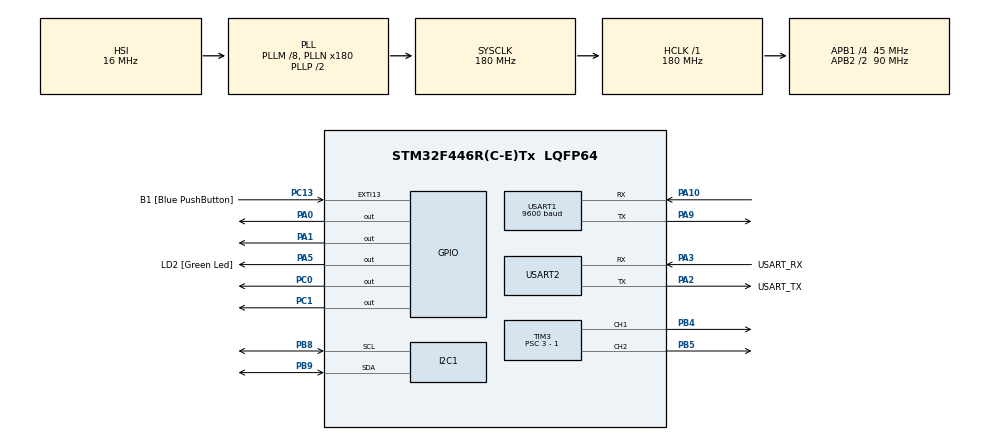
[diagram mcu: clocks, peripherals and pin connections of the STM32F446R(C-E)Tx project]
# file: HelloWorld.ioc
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Mcu.Family=STM32F4
Mcu.Name=STM32F446R(C-E)Tx
Mcu.Package=LQFP64
NVIC.PriorityGroup=NVIC_PRIORITYGROUP_0
NVIC.TIM3_IRQn=true\:0\:0\:false\:false\:true\:true\:true\:true
NVIC.USART1_IRQn=true\:0\:0\:false\:false\:true\:true\:true\:true
PA0-WKUP.Signal=GPIO_Output
PA1.Signal=GPIO_Output
PA10.Mode=Asynchronous
PA10.Signal=USART1_RX
PA13.GPIO_Label=TMS
PA13.Mode=Serial_Wire
PA13.Signal=SYS_JTMS-SWDIO
PA14.GPIO_Label=TCK
PA14.Mode=Serial_Wire
PA14.Signal=SYS_JTCK-SWCLK
PA2.GPIO_Label=USART_TX
PA2.Mode=Asynchronous
PA2.Signal=USART2_TX
PA3.GPIO_Label=USART_RX
PA3.Mode=Asynchronous
PA3.Signal=USART2_RX
PA5.GPIO_Label=LD2 [Green Led]
PA5.Signal=GPIO_Output
PA9.Mode=Asynchronous
PA9.Signal=USART1_TX
PB3.GPIO_Label=SWO
PB3.Signal=SYS_JTDO-SWO
PB4.Signal=S_TIM3_CH1
PB5.Signal=S_TIM3_CH2
PB8.Mode=I2C
PB8.Signal=I2C1_SCL
PB9.Mode=I2C
PB9.Signal=I2C1_SDA
PC0.Signal=GPIO_Output
PC1.Signal=GPIO_Output
PC13.GPIO_Label=B1 [Blue PushButton]
PC13.GPIO_ModeDefaultEXTI=GPIO_MODE_IT_FALLING
PC13.Signal=GPXTI13
PC14-OSC32_IN.Mode=LSE-External-Oscillator
PC14-OSC32_IN.Signal=RCC_OSC32_IN
PC15-OSC32_OUT.Mode=LSE-External-Oscillator
PC15-OSC32_OUT.Signal=RCC_OSC32_OUT
PH0-OSC_IN.Mode=HSE-External-Oscillator
PH0-OSC_IN.Signal=RCC_OSC_IN
PH1-OSC_OUT.Mode=HSE-External-Oscillator
PH1-OSC_OUT.Signal=RCC_OSC_OUT
ProjectManager.HeapSize=0x200
ProjectManager.StackSize=0x400
ProjectManager.TargetToolchain=CMake
RCC.48MHZClocksFreq_Value=84000000
RCC.AHBFreq_Value=180000000
RCC.APB1CLKDivider=RCC_HCLK_DIV4
RCC.APB1Freq_Value=45000000
RCC.APB1TimFreq_Value=90000000
RCC.APB2CLKDivider=RCC_HCLK_DIV2
RCC.APB2Freq_Value=90000000
RCC.APB2TimFreq_Value=180000000
RCC.CortexFreq_Value=180000000
RCC.FLatency-AdvancedSettings=FLASH_LATENCY_5
RCC.HCLKFreq_Value=180000000
RCC.HSE_VALUE=8000000
RCC.HSI_VALUE=16000000
RCC.PLLM=8
RCC.PLLN=180
RCC.SYSCLKFreq_VALUE=180000000
RCC.SYSCLKSource=RCC_SYSCLKSOURCE_PLLCLK
RCC.USBFreq_Value=180000000
RCC.VCOOutputFreq_Value=360000000
SH.S_TIM3_CH1.0=TIM3_CH1,PWM Generation1 CH1
SH.S_TIM3_CH2.0=TIM3_CH2,PWM Generation2 CH2
TIM3.Channel-PWM\ Generation1\ CH1=TIM_CHANNEL_1
TIM3.Channel-PWM\ Generation2\ CH2=TIM_CHANNEL_2
TIM3.Period=2000 - 1
TIM3.Prescaler=3 - 1
USART1.BaudRate=9600
USART1.Mode=MODE_TX_RX
USART1.VirtualMode=VM_ASYNC
USART2.VirtualMode=VM_ASYNC
VP_TIM3_VS_ClockSourceINT.Mode=Internal
board=NUCLEO-F446RE

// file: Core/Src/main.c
/* USER CODE BEGIN Header */
/* USER CODE END Header */
#include "main.h"

/* USER CODE BEGIN Includes */
#include "stdio.h"
#include "stdlib.h"
/* USER CODE END Includes */

I2C_HandleTypeDef hi2c1;

TIM_HandleTypeDef htim3;

UART_HandleTypeDef huart1;
UART_HandleTypeDef huart2;

void SystemClock_Config(void);
static void MX_GPIO_Init(void);
static void MX_USART2_UART_Init(void);
static void MX_I2C1_Init(void);
static void MX_USART1_UART_Init(void);
static void MX_TIM3_Init(void);

/* USER CODE BEGIN 0 */

#define BUFFER_LEN 32
uint8_t rx_buff[BUFFER_LEN];
// uint8_t tx_buff[]; //ABCDEFGHIJ in ASCII code

void HAL_UARTEx_RxEventCallback(UART_HandleTypeDef *huart, uint16_t size)
{
  if (huart->Instance==huart1.Instance)
  {
    HAL_UARTEx_ReceiveToIdle_IT(huart, rx_buff, BUFFER_LEN);
  }
}

void setLeftMotorState(int on, int clockwise, int speed) {
  if (on == 0) {
    HAL_GPIO_WritePin(GPIOA, GPIO_PIN_0, 0);
    HAL_GPIO_WritePin(GPIOA, GPIO_PIN_1, 0);
    return;
  }

  int ccr = 200 * speed;  // Speed: 0 - 10
  __HAL_TIM_SET_COMPARE(&htim3, TIM_CHANNEL_1, ccr);
  __HAL_TIM_SET_COMPARE(&htim3, TIM_CHANNEL_2, ccr);

  if (clockwise == 0) {
    HAL_GPIO_WritePin(GPIOA, GPIO_PIN_0, 1);
    HAL_GPIO_WritePin(GPIOA, GPIO_PIN_1, 0);
  }
  else {
    HAL_GPIO_WritePin(GPIOA, GPIO_PIN_0, 0);
    HAL_GPIO_WritePin(GPIOA, GPIO_PIN_1, 1);
  }
}

void setRightMotorState(int on, int clockwise, int speed) {
  if (on == 0) {
    HAL_GPIO_WritePin(GPIOC, GPIO_PIN_0, 0);
    HAL_GPIO_WritePin(GPIOC, GPIO_PIN_1, 0);
    return;
  }

  int ccr = 200 * speed;  // Speed: 0 - 10
  __HAL_TIM_SET_COMPARE(&htim3, TIM_CHANNEL_1, ccr);
  __HAL_TIM_SET_COMPARE(&htim3, TIM_CHANNEL_2, ccr);

  if (clockwise == 0) {
    HAL_GPIO_WritePin(GPIOC, GPIO_PIN_0, 1);
    HAL_GPIO_WritePin(GPIOC, GPIO_PIN_1, 0);
  }
  else {
    HAL_GPIO_WritePin(GPIOC, GPIO_PIN_0, 0);
    HAL_GPIO_WritePin(GPIOC, GPIO_PIN_1, 1);
  }
}

/* USER CODE END 0 */

int main(void)
{

  /* MCU Configuration--------------------------------------------------------*/

  /* Reset of all peripherals, Initializes the Flash interface and the Systick. */
  HAL_Init();

  /* Configure the system clock */
  SystemClock_Config();

  /* Initialize all configured peripherals */
  MX_GPIO_Init();
  MX_USART2_UART_Init();
  MX_I2C1_Init();
  MX_USART1_UART_Init();
  MX_TIM3_Init();
  /* USER CODE BEGIN 2 */
  HAL_TIM_PWM_Start(&htim3, TIM_CHANNEL_1);
  HAL_TIM_PWM_Start(&htim3, TIM_CHANNEL_2);
  // uint16_t AD_RES = 0;
  HAL_UARTEx_ReceiveToIdle_IT(&huart1, rx_buff, BUFFER_LEN);
  int receivedSpeed = 0;
  /* USER CODE END 2 */

  /* Infinite loop */
  /* USER CODE BEGIN WHILE */
  while (1)
  {
    HAL_UART_Transmit_IT(&huart1, rx_buff, sizeof(rx_buff));
    HAL_Delay(1000);

    // receivedSpeed = getSpeedFromUartBuff(rx_buff);
    receivedSpeed =  rx_buff[1] - '0';  // Convert number char to int

    if (receivedSpeed < 0 && receivedSpeed > 10) {
      receivedSpeed = 0;
    }

    switch (rx_buff[0])
    {
      case 'u':
        setLeftMotorState(1, 0, receivedSpeed);
        setRightMotorState(1, 0, receivedSpeed);
        break;
      case 'd':
        setLeftMotorState(1, 1, receivedSpeed);
        setRightMotorState(1, 1, receivedSpeed);
        break;
      case 'l':
        setLeftMotorState(1, 1, receivedSpeed);
        setRightMotorState(1, 0, receivedSpeed);
        break;
      case 'r':
        setLeftMotorState(1, 0, receivedSpeed);
        setRightMotorState(1, 1, receivedSpeed);
        break;
      default:
        // Turn Off
        setLeftMotorState(0, 0, receivedSpeed);
        setRightMotorState(0, 0, receivedSpeed);
    }

    // // Motor Bridge
    // HAL_GPIO_WritePin(GPIOA, GPIO_PIN_0, 1);
    // HAL_GPIO_WritePin(GPIOA, GPIO_PIN_1, 0);

    // HAL_Delay(1000);

    // HAL_GPIO_WritePin(GPIOA, GPIO_PIN_0, 0);
    // HAL_GPIO_WritePin(GPIOA, GPIO_PIN_1, 1);

    // HAL_Delay(1000);

    // // Potentiometer ADC
    // HAL_ADC_Start(&hadc1);

    // HAL_ADC_PollForConversion(&hadc1, 1);

    // AD_RES = HAL_ADC_GetValue(&hadc1);
    // TIM2->CCR2 = (AD_RES << 4);

    // // Turn on LED if button pressed
    // GPIO_PinState userButtonStatus = HAL_GPIO_ReadPin(GPIOC, GPIO_PIN_13);

    // if (userButtonStatus == GPIO_PIN_RESET)
    // {
    //   printf("Button pressed");
    //   HAL_GPIO_WritePin(GPIOA, GPIO_PIN_5, 1);
    //   HAL_GPIO_WritePin(GPIOA, GPIO_PIN_6, 1);
    // }
    // else
    // {
    //   HAL_GPIO_WritePin(GPIOA, GPIO_PIN_5, 0);
    //   HAL_GPIO_WritePin(GPIOA, GPIO_PIN_6, 0);
    // }

    // // PWM Pulse
    // int x;
    // for (x=0; x<1000; x++)
    // {
    //   __HAL_TIM_SET_COMPARE(&htim2, TIM_CHANNEL_2, x);
    //   HAL_Delay(100);
    // }
    // for (x=1000; x>0; x--)
    // {
    //   __HAL_TIM_SET_COMPARE(&htim2, TIM_CHANNEL_2, x);
    //   HAL_Delay(100);
    // }
    // printf("Hello World");

    /* USER CODE END WHILE */

  }
}

void SystemClock_Config(void)
{
  RCC_OscInitTypeDef RCC_OscInitStruct = {0};
  RCC_ClkInitTypeDef RCC_ClkInitStruct = {0};

  /** Configure the main internal regulator output voltage
  */
  __HAL_RCC_PWR_CLK_ENABLE();
  __HAL_PWR_VOLTAGESCALING_CONFIG(PWR_REGULATOR_VOLTAGE_SCALE1);

  /** Initializes the RCC Oscillators according to the specified parameters
  * in the RCC_OscInitTypeDef structure.
  */
  RCC_OscInitStruct.OscillatorType = RCC_OSCILLATORTYPE_HSI;
  RCC_OscInitStruct.HSIState = RCC_HSI_ON;
  RCC_OscInitStruct.HSICalibrationValue = RCC_HSICALIBRATION_DEFAULT;
  RCC_OscInitStruct.PLL.PLLState = RCC_PLL_ON;
  RCC_OscInitStruct.PLL.PLLSource = RCC_PLLSOURCE_HSI;
  RCC_OscInitStruct.PLL.PLLM = 8;
  RCC_OscInitStruct.PLL.PLLN = 180;
  RCC_OscInitStruct.PLL.PLLP = RCC_PLLP_DIV2;
  RCC_OscInitStruct.PLL.PLLQ = 2;
  RCC_OscInitStruct.PLL.PLLR = 2;
  if (HAL_RCC_OscConfig(&RCC_OscInitStruct) != HAL_OK)
  {
    Error_Handler();
  }

  /** Activate the Over-Drive mode
  */
  if (HAL_PWREx_EnableOverDrive() != HAL_OK)
  {
    Error_Handler();
  }

  /** Initializes the CPU, AHB and APB buses clocks
  */
  RCC_ClkInitStruct.ClockType = RCC_CLOCKTYPE_HCLK|RCC_CLOCKTYPE_SYSCLK
                              |RCC_CLOCKTYPE_PCLK1|RCC_CLOCKTYPE_PCLK2;
  RCC_ClkInitStruct.SYSCLKSource = RCC_SYSCLKSOURCE_PLLCLK;
  RCC_ClkInitStruct.AHBCLKDivider = RCC_SYSCLK_DIV1;
  RCC_ClkInitStruct.APB1CLKDivider = RCC_HCLK_DIV4;
  RCC_ClkInitStruct.APB2CLKDivider = RCC_HCLK_DIV2;

  if (HAL_RCC_ClockConfig(&RCC_ClkInitStruct, FLASH_LATENCY_5) != HAL_OK)
  {
    Error_Handler();
  }
}

static void MX_I2C1_Init(void)
{

  hi2c1.Instance = I2C1;
  hi2c1.Init.ClockSpeed = 100000;
  hi2c1.Init.DutyCycle = I2C_DUTYCYCLE_2;
  hi2c1.Init.OwnAddress1 = 0;
  hi2c1.Init.AddressingMode = I2C_ADDRESSINGMODE_7BIT;
  hi2c1.Init.DualAddressMode = I2C_DUALADDRESS_DISABLE;
  hi2c1.Init.OwnAddress2 = 0;
  hi2c1.Init.GeneralCallMode = I2C_GENERALCALL_DISABLE;
  hi2c1.Init.NoStretchMode = I2C_NOSTRETCH_DISABLE;
  if (HAL_I2C_Init(&hi2c1) != HAL_OK)
  {
    Error_Handler();
  }

}

static void MX_TIM3_Init(void)
{

  TIM_ClockConfigTypeDef sClockSourceConfig = {0};
  TIM_MasterConfigTypeDef sMasterConfig = {0};
  TIM_OC_InitTypeDef sConfigOC = {0};

  htim3.Instance = TIM3;
  htim3.Init.Prescaler = 3 - 1;
  htim3.Init.CounterMode = TIM_COUNTERMODE_UP;
  htim3.Init.Period = 2000 - 1;
  htim3.Init.ClockDivision = TIM_CLOCKDIVISION_DIV1;
  htim3.Init.AutoReloadPreload = TIM_AUTORELOAD_PRELOAD_DISABLE;
  if (HAL_TIM_Base_Init(&htim3) != HAL_OK)
  {
    Error_Handler();
  }
  sClockSourceConfig.ClockSource = TIM_CLOCKSOURCE_INTERNAL;
  if (HAL_TIM_ConfigClockSource(&htim3, &sClockSourceConfig) != HAL_OK)
  {
    Error_Handler();
  }
  if (HAL_TIM_PWM_Init(&htim3) != HAL_OK)
  {
    Error_Handler();
  }
  sMasterConfig.MasterOutputTrigger = TIM_TRGO_RESET;
  sMasterConfig.MasterSlaveMode = TIM_MASTERSLAVEMODE_DISABLE;
  if (HAL_TIMEx_MasterConfigSynchronization(&htim3, &sMasterConfig) != HAL_OK)
  {
    Error_Handler();
  }
  sConfigOC.OCMode = TIM_OCMODE_PWM1;
  sConfigOC.Pulse = 0;
  sConfigOC.OCPolarity = TIM_OCPOLARITY_HIGH;
  sConfigOC.OCFastMode = TIM_OCFAST_DISABLE;
  if (HAL_TIM_PWM_ConfigChannel(&htim3, &sConfigOC, TIM_CHANNEL_1) != HAL_OK)
  {
    Error_Handler();
  }
  if (HAL_TIM_PWM_ConfigChannel(&htim3, &sConfigOC, TIM_CHANNEL_2) != HAL_OK)
  {
    Error_Handler();
  }
  HAL_TIM_MspPostInit(&htim3);

}

static void MX_USART1_UART_Init(void)
{

  huart1.Instance = USART1;
  huart1.Init.BaudRate = 9600;
  huart1.Init.WordLength = UART_WORDLENGTH_8B;
  huart1.Init.StopBits = UART_STOPBITS_1;
  huart1.Init.Parity = UART_PARITY_NONE;
  huart1.Init.Mode = UART_MODE_TX_RX;
  huart1.Init.HwFlowCtl = UART_HWCONTROL_NONE;
  huart1.Init.OverSampling = UART_OVERSAMPLING_16;
  if (HAL_UART_Init(&huart1) != HAL_OK)
  {
    Error_Handler();
  }

}

static void MX_USART2_UART_Init(void)
{

  huart2.Instance = USART2;
  huart2.Init.BaudRate = 115200;
  huart2.Init.WordLength = UART_WORDLENGTH_8B;
  huart2.Init.StopBits = UART_STOPBITS_1;
  huart2.Init.Parity = UART_PARITY_NONE;
  huart2.Init.Mode = UART_MODE_TX_RX;
  huart2.Init.HwFlowCtl = UART_HWCONTROL_NONE;
  huart2.Init.OverSampling = UART_OVERSAMPLING_16;
  if (HAL_UART_Init(&huart2) != HAL_OK)
  {
    Error_Handler();
  }

}

static void MX_GPIO_Init(void)
{
  GPIO_InitTypeDef GPIO_InitStruct = {0};

  /* GPIO Ports Clock Enable */
  __HAL_RCC_GPIOC_CLK_ENABLE();
  __HAL_RCC_GPIOH_CLK_ENABLE();
  __HAL_RCC_GPIOA_CLK_ENABLE();
  __HAL_RCC_GPIOB_CLK_ENABLE();

  /*Configure GPIO pin Output Level */
  HAL_GPIO_WritePin(GPIOC, GPIO_PIN_0|GPIO_PIN_1, GPIO_PIN_RESET);

  /*Configure GPIO pin Output Level */
  HAL_GPIO_WritePin(GPIOA, GPIO_PIN_0|GPIO_PIN_1|LD2_Pin, GPIO_PIN_RESET);

  /*Configure GPIO pin : B1_Pin */
  GPIO_InitStruct.Pin = B1_Pin;
  GPIO_InitStruct.Mode = GPIO_MODE_IT_FALLING;
  GPIO_InitStruct.Pull = GPIO_NOPULL;
  HAL_GPIO_Init(B1_GPIO_Port, &GPIO_InitStruct);

  /*Configure GPIO pins : PC0 PC1 */
  GPIO_InitStruct.Pin = GPIO_PIN_0|GPIO_PIN_1;
  GPIO_InitStruct.Mode = GPIO_MODE_OUTPUT_PP;
  GPIO_InitStruct.Pull = GPIO_NOPULL;
  GPIO_InitStruct.Speed = GPIO_SPEED_FREQ_LOW;
  HAL_GPIO_Init(GPIOC, &GPIO_InitStruct);

  /*Configure GPIO pins : PA0 PA1 LD2_Pin */
  GPIO_InitStruct.Pin = GPIO_PIN_0|GPIO_PIN_1|LD2_Pin;
  GPIO_InitStruct.Mode = GPIO_MODE_OUTPUT_PP;
  GPIO_InitStruct.Pull = GPIO_NOPULL;
  GPIO_InitStruct.Speed = GPIO_SPEED_FREQ_LOW;
  HAL_GPIO_Init(GPIOA, &GPIO_InitStruct);

}

void Error_Handler(void)
{
}
